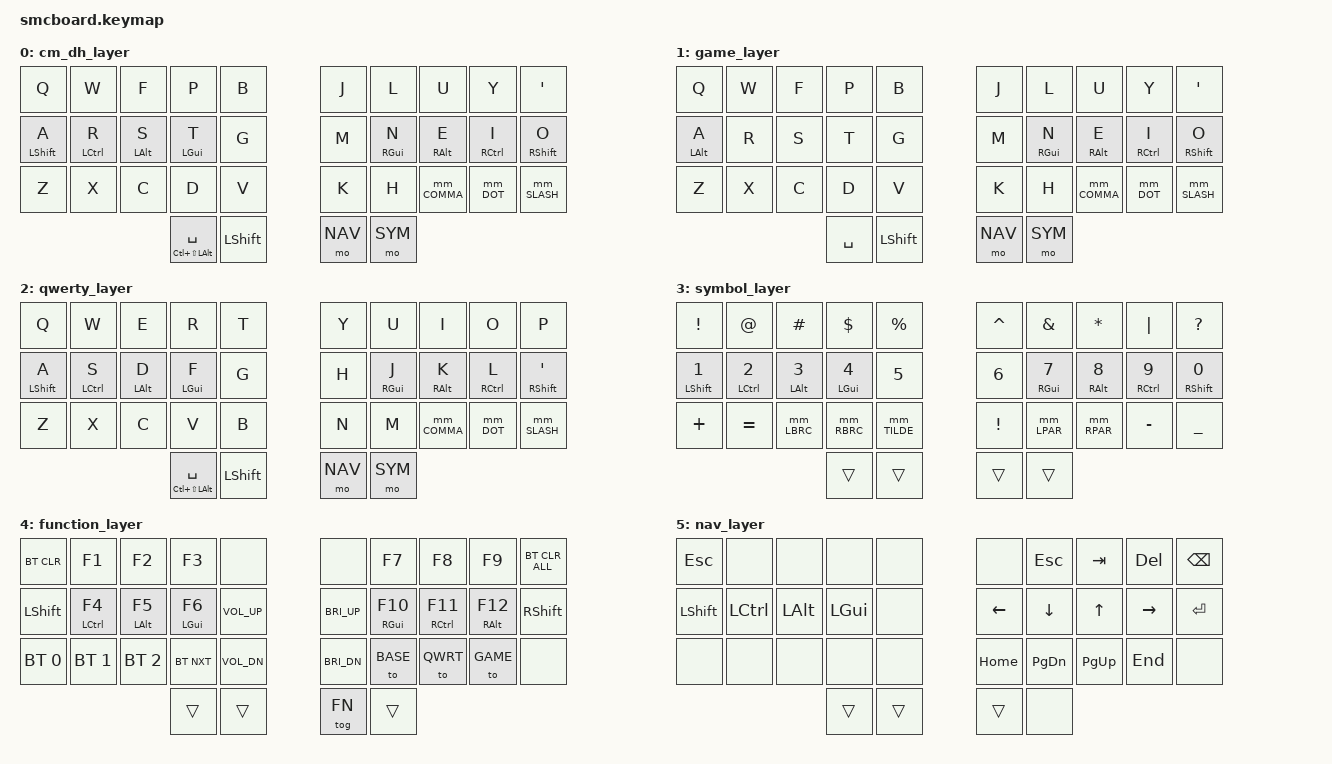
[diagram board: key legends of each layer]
/*
 * Copyright (c) 2021 The ZMK Contributors
 *
 * SPDX-License-Identifier: MIT
 */

/*
 * Copyright (c) 2020 The ZMK Contributors
 *
 * SPDX-License-Identifier: MIT
 */

#include <behaviors.dtsi>
#include <dt-bindings/zmk/keys.h>
#include <dt-bindings/zmk/bt.h>
#include "keypos.h"
#include "zmk_utils.h"

#define ALL 0xff
#define STD 0 2 3 4 5
#define BASE 0
#define GAME 1
#define QWRT 2
#define SYM  3
#define FN   4
#define NAV  5

#define KEYS_L LT0 LT1 LT2 LT3 LT4 LM0 LM1 LM2 LM3 LM4 LB0 LB1 LB2 LB3 LB4
#define KEYS_R RT0 RT1 RT2 RT3 RT4 RM0 RM1 RM2 RM3 RM4 RB0 RB1 RB2 RB3 RB4
#define THUMBS LH1 LH0 RH0 RH1

#define COMBO_QT require-prior-idle-ms = <150>;
#define COMBO_FAST 35
#define COMBO_SLOW 35

/*                              34 KEY MATRIX / LAYOUT MAPPING

  ╭────────────────────┬────────────────────╮ ╭─────────────────────┬─────────────────────╮
  │  0   1   2   3   4 │  5   6   7   8   9 │ │ LT4 LT3 LT2 LT1 LT0 │ RT0 RT1 RT2 RT3 RT4 │
  │ 10  11  12  13  14 │ 15  16  17  18  19 │ │ LM4 LM3 LM2 LM1 LM0 │ RM0 RM1 RM2 RM3 RM4 │
  │ 20  21  22  23  24 │ 25  26  27  28  29 │ │ LB4 LB3 LB2 LB1 LB0 │ RB0 RB1 RB2 RB3 RB4 │
  ╰───────────╮ 30  31 │ 32  33 ╭───────────╯ ╰───────────╮ LH1 LH0 │ RH0 RH1 ╭───────────╯
              ╰────────┴────────╯                         ╰─────────┴─────────╯             */





&mt {
  //flavor = "tap-preferred";
  tapping_term_ms = <200>;
};

/ {
  behaviors {
    hml: hml {
      compatible = "zmk,behavior-hold-tap";
      label = "HML";
      #binding-cells = <2>;
      tapping-term-ms = <280>;
      quick_tap_ms = <175>;
      require-prior-idle-ms = <150>;
      flavor = "balanced";
      bindings = <&kp>, <&kp>;
      hold-trigger-key-positions = <KEYS_R THUMBS>;
      hold-trigger-on-release;
    };
    hmr: hmr {
      compatible = "zmk,behavior-hold-tap";
      label = "HMR";
      #binding-cells = <2>;
      tapping-term-ms = <280>;
      quick_tap_ms = <175>;
      require-prior-idle-ms = <150>;
      flavor = "balanced";
      bindings = <&kp>, <&kp>;
      hold-trigger-key-positions = <KEYS_L THUMBS>;
      hold-trigger-on-release;
    };
    meh_spc: meh_spc {
      compatible = "zmk,behavior-hold-tap";
      label = "MEHSPC";
      #binding-cells = <2>;
      tapping-term-ms = <280>;
      quick_tap_ms = <175>;
      require-prior-idle-ms = <150>;
      flavor = "balanced";
      bindings = <&kp>, <&kp>;
    };
    llt: llt {
      compatible = "zmk,behavior-hold-tap";
      label = "LLT";
      #binding-cells = <2>;
      tapping-term-ms = <150>;
      quick_tap_ms = <0>;
      flavor = "tap-preferred";
      retro-tap;
      bindings = <&mo>, <&tog>;
    };
    // tap: comma | shift + tap: semicolon
    MOD_MORPH(COMMA, (<&kp COMMA>, <&kp SEMI>), (<(MOD_LSFT|MOD_RSFT)>))

    // tap: dot | shift + tap: colon
    MOD_MORPH(DOT, (<&kp DOT>, <&kp COLON>), (<(MOD_LSFT|MOD_RSFT)>))

    // tap: ( | shift + tap: <
    MOD_MORPH(LPAR, (<&kp LPAR>, <&kp LT>), (<(MOD_LSFT|MOD_RSFT)>))
    // tap: ) | shift + tap: >
    MOD_MORPH(RPAR, (<&kp RPAR>, <&kp GT>), (<(MOD_LSFT|MOD_RSFT)>))

    // tap: { | shift + tap: [
    MOD_MORPH(LBRC, (<&kp LBRC>, <&kp LBKT>), (<(MOD_LSFT|MOD_RSFT)>))
    // tap: } | shift + tap: ]
    MOD_MORPH(RBRC, (<&kp RBRC>, <&kp RBKT>), (<(MOD_LSFT|MOD_RSFT)>))

    // tap: ~ | shift + tap: `
    MOD_MORPH(TILDE, (<&kp TILDE>, <&kp GRAVE>), (<(MOD_LSFT|MOD_RSFT)>))

    // tap: / | shift + tap: backslash
    MOD_MORPH(SLASH, (<&kp FSLH>, <&kp BSLH>), (<(MOD_LSFT|MOD_RSFT)>))

  };

  combos {
    compatible = "zmk,combos";
    // L hand tab combo (sends opt + ctl on hold)
    COMBO(TAB, &hml LA(LCTRL) TAB, LM2 LM3, STD, COMBO_FAST)
    // L hand tab combo on game layer only 
    COMBO(TAB_G, &kp TAB, LB2 LB3, GAME, COMBO_FAST)
    // L hand esc combo (sends opt + cmd on hold)
    COMBO(LESC, &hml LA(LGUI) ESC, LM1 LM2, STD, COMBO_FAST)
    // L hand esc combo on game layer only (does not send opt + ctl on hold)
    COMBO(LESC_G, &kp ESC, LB1 LB2, GAME, COMBO_FAST)
    // R hand esc combo (sends opt + cmd on hold)
    COMBO(RESC, &hmr RA(RGUI) ESC, RM1 RM2, ALL, COMBO_FAST)
    // R hand return combo (sends opt + ctl on hold)
    COMBO(ENTER, &hmr RA(RCTRL) ENTER, RM2 RM3, ALL, COMBO_FAST)
    // change to FN layer
    COMBO(TOG_FN, &tog FN, LH0 LM1 LM0, ALL, COMBO_FAST)
  };

  keymap {
    compatible = "zmk,keymap";

    cm_dh_layer {
      bindings = <
        &kp Q &kp W &kp F &kp P &kp B &kp J &kp L &kp U &kp Y &kp SQT
        &hml LSHIFT A &hml LCTRL R &hml LALT S &hml LGUI T &kp G &kp M &hmr RGUI N &hmr RALT E &hmr RCTRL I &hmr RSHIFT O
        &kp Z &kp X &kp C &kp D &kp V &kp K &kp H &mm_COMMA &mm_DOT &mm_SLASH
        &meh_spc LC(LS(LALT)) SPC &kp LSHIFT &mo NAV &mo SYM
      >;
    };

    game_layer {
      bindings = <
        &kp Q &kp W &kp F &kp P &kp B &kp J &kp L &kp U &kp Y &kp SQT
        &hml LALT A &kp R &kp S &kp T &kp G &kp M &hmr RGUI N &hmr RALT E &hmr RCTRL I &hmr RSHIFT O
        &kp Z &kp X &kp C &kp D &kp V &kp K &kp H &mm_COMMA &mm_DOT &mm_SLASH
        &kp SPC &kp LSHIFT &mo NAV &mo SYM
      >;
    };

    qwerty_layer {
      bindings = <
        &kp Q &kp W &kp E &kp R &kp T &kp Y &kp U &kp I &kp O &kp P
        &hml LSHIFT A &hml LCTRL S &hml LALT D &hml LGUI F &kp G &kp H &hmr RGUI J &hmr RALT K &hmr RCTRL L &hmr RSHIFT SQT
        &kp Z &kp X &kp C &kp V &kp B &kp N &kp M &mm_COMMA &mm_DOT &mm_SLASH
        &meh_spc LC(LS(LALT)) SPC &kp LSHIFT &mo NAV &mo SYM
      >;
    };

    symbol_layer {
      bindings = <
        &kp EXCL        &kp AT          &kp HASH        &kp DOLLAR      &kp PERCENT     &kp CARET       &kp AMPERSAND   &kp ASTERISK    &kp PIPE        &kp QMARK
        &hml LSHFT N1   &hml LCTRL N2   &hml LALT N3    &hml LGUI N4    &kp N5          &kp N6          &hmr RGUI N7    &hmr RALT N8    &hmr RCTRL N9   &hmr RSHFT N0
        &kp PLUS        &kp EQUAL       &mm_LBRC        &mm_RBRC        &mm_TILDE       &kp EXCL        &mm_LPAR        &mm_RPAR        &kp MINUS       &kp UNDER
                                                        &trans          &trans          &trans          &trans
      >;
    };

    function_layer {
      bindings = <
        &bt BT_CLR      &kp F1          &kp F2          &kp F3          &none       &none       &kp F7          &kp F8          &kp F9          &bt BT_CLR_ALL
        &kp LSHFT       &hml LCTRL F4   &hml LALT F5    &hml LGUI F6    &kp C_VOL_UP    &kp C_BRI_UP    &hmr RGUI F10   &hmr RCTRL F11  &hmr RALT F12   &kp RSHFT
        &bt BT_SEL 0    &bt BT_SEL 1    &bt BT_SEL 2    &bt BT_NXT      &kp C_VOL_DN    &kp C_BRI_DN    &to BASE        &to QWRT        &to GAME           &none
                                                        &trans          &trans          &tog FN         &trans
      >;
    };

    nav_layer {
      bindings = <
        &kp ESC         &none           &none           &none           &none           &none           &kp ESC         &kp TAB         &kp DEL         &kp BSPC
        &kp LSHFT       &kp LCTRL       &kp LALT        &kp LGUI        &none           &kp LEFT        &kp DOWN        &kp UP          &kp RIGHT       &kp ENTER
        &none           &none           &none           &none           &none           &kp HOME        &kp PG_DN       &kp PG_UP       &kp END         &none
                                                        &trans          &trans          &trans          &none
      >;
    };

  };
};

